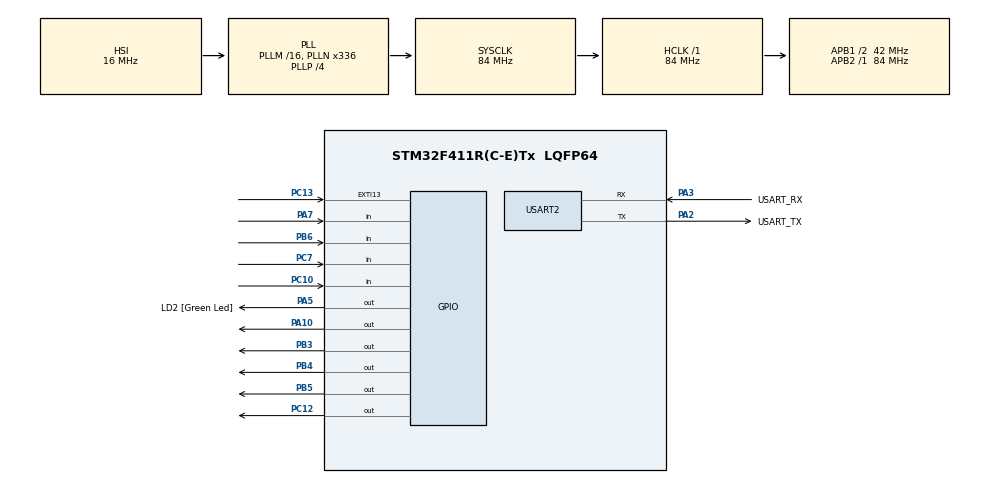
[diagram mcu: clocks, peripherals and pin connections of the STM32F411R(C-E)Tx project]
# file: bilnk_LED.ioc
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Mcu.Family=STM32F4
Mcu.Name=STM32F411R(C-E)Tx
Mcu.Package=LQFP64
NVIC.PriorityGroup=NVIC_PRIORITYGROUP_0
PA10.GPIO_ModeDefaultOutputPP=GPIO_MODE_OUTPUT_OD
PA10.GPIO_PuPd=GPIO_NOPULL
PA10.Signal=GPIO_Output
PA13.GPIO_Label=TMS
PA13.Mode=Serial_Wire
PA13.Signal=SYS_JTMS-SWDIO
PA14.GPIO_Label=TCK
PA14.Mode=Serial_Wire
PA14.Signal=SYS_JTCK-SWCLK
PA2.GPIO_Label=USART_TX
PA2.Mode=Asynchronous
PA2.Signal=USART2_TX
PA3.GPIO_Label=USART_RX
PA3.Mode=Asynchronous
PA3.Signal=USART2_RX
PA5.GPIO_Label=LD2 [Green Led]
PA5.GPIO_ModeDefaultOutputPP=GPIO_MODE_OUTPUT_OD
PA5.GPIO_PuPd=GPIO_NOPULL
PA5.Signal=GPIO_Output
PA7.GPIO_PuPd=GPIO_PULLUP
PA7.Signal=GPIO_Input
PB3.GPIO_ModeDefaultOutputPP=GPIO_MODE_OUTPUT_OD
PB3.GPIO_PuPd=GPIO_NOPULL
PB3.Signal=GPIO_Output
PB4.GPIO_ModeDefaultOutputPP=GPIO_MODE_OUTPUT_OD
PB4.GPIO_PuPd=GPIO_NOPULL
PB4.Signal=GPIO_Output
PB5.GPIO_ModeDefaultOutputPP=GPIO_MODE_OUTPUT_OD
PB5.GPIO_PuPd=GPIO_NOPULL
PB5.Signal=GPIO_Output
PB6.GPIO_PuPd=GPIO_PULLUP
PB6.Signal=GPIO_Input
PC10.GPIO_PuPd=GPIO_PULLUP
PC10.Signal=GPIO_Input
PC12.GPIO_ModeDefaultOutputPP=GPIO_MODE_OUTPUT_OD
PC12.GPIO_PuPd=GPIO_NOPULL
PC12.Signal=GPIO_Output
PC13-ANTI_TAMP.Signal=GPXTI13
PC14-OSC32_IN.Mode=LSE-External-Oscillator
PC14-OSC32_IN.Signal=RCC_OSC32_IN
PC15-OSC32_OUT.Mode=LSE-External-Oscillator
PC15-OSC32_OUT.Signal=RCC_OSC32_OUT
PC7.GPIO_PuPd=GPIO_PULLUP
PC7.Signal=GPIO_Input
PH0\ -\ OSC_IN.Mode=HSE-External-Clock-Source
PH0\ -\ OSC_IN.Signal=RCC_OSC_IN
PH1\ -\ OSC_OUT.Mode=HSE-External-Clock-Source
PH1\ -\ OSC_OUT.Signal=RCC_OSC_OUT
ProjectManager.HeapSize=0x200
ProjectManager.StackSize=0x400
ProjectManager.TargetToolchain=STM32CubeIDE
RCC.48MHZClocksFreq_Value=84000000
RCC.AHBFreq_Value=84000000
RCC.APB1CLKDivider=RCC_HCLK_DIV2
RCC.APB1Freq_Value=42000000
RCC.APB1TimFreq_Value=84000000
RCC.APB2Freq_Value=84000000
RCC.APB2TimFreq_Value=84000000
RCC.CortexFreq_Value=84000000
RCC.FLatency-AdvancedSettings=FLASH_LATENCY_2
RCC.HCLKFreq_Value=84000000
RCC.HSE_VALUE=8000000
RCC.HSI_VALUE=16000000
RCC.PLLN=336
RCC.PLLP=RCC_PLLP_DIV4
RCC.SYSCLKFreq_VALUE=84000000
RCC.SYSCLKSource=RCC_SYSCLKSOURCE_PLLCLK
RCC.VCOOutputFreq_Value=336000000
USART2.VirtualMode=VM_ASYNC
board=NUCLEO-F411RE

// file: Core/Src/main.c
/* USER CODE BEGIN Header */
/**
  ******************************************************************************
  * @file           : main.c
  * @brief          : Main program body
  ******************************************************************************
  * @attention
  *
  * Copyright (c) 2023 STMicroelectronics.
  * All rights reserved.
  *
  * This software is licensed under terms that can be found in the LICENSE file
  * in the root directory of this software component.
  * If no LICENSE file comes with this software, it is provided AS-IS.
  *
  ******************************************************************************
  */
/* USER CODE END Header */
#include "main.h"

/* USER CODE BEGIN Includes */
#include "string.h"
/* USER CODE END Includes */

UART_HandleTypeDef huart2;

/* USER CODE BEGIN PV */
//create structure type

struct _GPIOstate{
	GPIO_PinState Current;
	GPIO_PinState Last;
};
struct _GPIOstate Button1;

struct PortPin{
	GPIO_TypeDef* PORT;
	uint16_t PIN;
};

struct PortPin R[4] = {

	{GPIOA,GPIO_PIN_10},
	{GPIOB,GPIO_PIN_3},
	{GPIOB,GPIO_PIN_5},
	{GPIOB,GPIO_PIN_4}

};

struct PortPin L[4] = {

	{GPIOA,GPIO_PIN_9},
	{GPIOC,GPIO_PIN_7},
	{GPIOB,GPIO_PIN_6},
	{GPIOA,GPIO_PIN_7}

};
int num = 0;

uint16_t ButtonMatrix = 0;
/* USER CODE END PV */

void SystemClock_Config(void);
static void MX_GPIO_Init(void);
static void MX_USART2_UART_Init(void);
/* USER CODE BEGIN PFP */
void ReadMatrixButton_1Row();
/* USER CODE END PFP */

int main(void)
{
  /* USER CODE BEGIN 1 */
	char Txbuffer[20];
  /* USER CODE END 1 */

  /* MCU Configuration--------------------------------------------------------*/

  /* Reset of all peripherals, Initializes the Flash interface and the Systick. */
  HAL_Init();

  /* Configure the system clock */
  SystemClock_Config();

  /* Initialize all configured peripherals */
  MX_GPIO_Init();
  MX_USART2_UART_Init();

  /* Infinite loop */
  while (1)
  {

    /* USER CODE BEGIN 3 */
//	  uint8_t Test[] = "Hello World !!!\r\n"; //Data to send

	  // Read pin PC13 and save it to Button1
//	  GPIO_PinState Button1;
	  num = num + 1;
	  sprintf(Txbuffer, "%d\r\n", /*num*/);
	  HAL_UART_Transmit(&huart2,(uint8_t *) Txbuffer,strlen(Txbuffer),HAL_MAX_DELAY);// Sending in normal mode
//	  Button1.Current = HAL_GPIO_ReadPin(GPIOC, GPIO_PIN_10);
//
//	  static uint32_t timestamp = 0;
//	  if(HAL_GetTick() >= timestamp){
//		  if(Button1.Last == 0 && Button1.Current == 1){
//			  timestamp = HAL_GetTick() + 50;
//			  Button1.state = HAL_GPIO_ReadPin(GPIOC, GPIO_PIN_12);
//			  HAL_GPIO_TogglePin(GPIOC, GPIO_PIN_12);
//	  static uint32_t timestamp = 0;
//	  if(HAL_GetTick() >= timestamp){
//		  timestamp = HAL_GetTick() + 100;
//		  ReadMatrixButton_1Row();
//
//	  }
//	  HAL_UART_Transmit(huart, pData, Size, Timeout)
//	  xy = xy + 1;
//		  }
//	  }
//	  Button1.Last = Button1.Current;
  }
  /* USER CODE END 3 */
}

void SystemClock_Config(void)
{
  RCC_OscInitTypeDef RCC_OscInitStruct = {0};
  RCC_ClkInitTypeDef RCC_ClkInitStruct = {0};

  /** Configure the main internal regulator output voltage
  */
  __HAL_RCC_PWR_CLK_ENABLE();
  __HAL_PWR_VOLTAGESCALING_CONFIG(PWR_REGULATOR_VOLTAGE_SCALE1);

  /** Initializes the RCC Oscillators according to the specified parameters
  * in the RCC_OscInitTypeDef structure.
  */
  RCC_OscInitStruct.OscillatorType = RCC_OSCILLATORTYPE_HSI;
  RCC_OscInitStruct.HSIState = RCC_HSI_ON;
  RCC_OscInitStruct.HSICalibrationValue = RCC_HSICALIBRATION_DEFAULT;
  RCC_OscInitStruct.PLL.PLLState = RCC_PLL_ON;
  RCC_OscInitStruct.PLL.PLLSource = RCC_PLLSOURCE_HSI;
  RCC_OscInitStruct.PLL.PLLM = 16;
  RCC_OscInitStruct.PLL.PLLN = 336;
  RCC_OscInitStruct.PLL.PLLP = RCC_PLLP_DIV4;
  RCC_OscInitStruct.PLL.PLLQ = 4;
  if (HAL_RCC_OscConfig(&RCC_OscInitStruct) != HAL_OK)
  {
    Error_Handler();
  }

  /** Initializes the CPU, AHB and APB buses clocks
  */
  RCC_ClkInitStruct.ClockType = RCC_CLOCKTYPE_HCLK|RCC_CLOCKTYPE_SYSCLK
                              |RCC_CLOCKTYPE_PCLK1|RCC_CLOCKTYPE_PCLK2;
  RCC_ClkInitStruct.SYSCLKSource = RCC_SYSCLKSOURCE_PLLCLK;
  RCC_ClkInitStruct.AHBCLKDivider = RCC_SYSCLK_DIV1;
  RCC_ClkInitStruct.APB1CLKDivider = RCC_HCLK_DIV2;
  RCC_ClkInitStruct.APB2CLKDivider = RCC_HCLK_DIV1;

  if (HAL_RCC_ClockConfig(&RCC_ClkInitStruct, FLASH_LATENCY_2) != HAL_OK)
  {
    Error_Handler();
  }
}

static void MX_USART2_UART_Init(void)
{

  huart2.Instance = USART2;
  huart2.Init.BaudRate = 115200;
  huart2.Init.WordLength = UART_WORDLENGTH_8B;
  huart2.Init.StopBits = UART_STOPBITS_1;
  huart2.Init.Parity = UART_PARITY_NONE;
  huart2.Init.Mode = UART_MODE_TX_RX;
  huart2.Init.HwFlowCtl = UART_HWCONTROL_NONE;
  huart2.Init.OverSampling = UART_OVERSAMPLING_16;
  if (HAL_UART_Init(&huart2) != HAL_OK)
  {
    Error_Handler();
  }

}

static void MX_GPIO_Init(void)
{
  GPIO_InitTypeDef GPIO_InitStruct = {0};

  /* GPIO Ports Clock Enable */
  __HAL_RCC_GPIOC_CLK_ENABLE();
  __HAL_RCC_GPIOH_CLK_ENABLE();
  __HAL_RCC_GPIOA_CLK_ENABLE();
  __HAL_RCC_GPIOB_CLK_ENABLE();

  /*Configure GPIO pin Output Level */
  HAL_GPIO_WritePin(GPIOA, LD2_Pin|GPIO_PIN_10, GPIO_PIN_RESET);

  /*Configure GPIO pin Output Level */
  HAL_GPIO_WritePin(GPIOC, GPIO_PIN_12, GPIO_PIN_RESET);

  /*Configure GPIO pin Output Level */
  HAL_GPIO_WritePin(GPIOB, GPIO_PIN_3|GPIO_PIN_4|GPIO_PIN_5, GPIO_PIN_RESET);

  /*Configure GPIO pin : PC13 */
  GPIO_InitStruct.Pin = GPIO_PIN_13;
  GPIO_InitStruct.Mode = GPIO_MODE_IT_RISING;
  GPIO_InitStruct.Pull = GPIO_NOPULL;
  HAL_GPIO_Init(GPIOC, &GPIO_InitStruct);

  /*Configure GPIO pins : LD2_Pin PA10 */
  GPIO_InitStruct.Pin = LD2_Pin|GPIO_PIN_10;
  GPIO_InitStruct.Mode = GPIO_MODE_OUTPUT_OD;
  GPIO_InitStruct.Pull = GPIO_NOPULL;
  GPIO_InitStruct.Speed = GPIO_SPEED_FREQ_LOW;
  HAL_GPIO_Init(GPIOA, &GPIO_InitStruct);

  /*Configure GPIO pin : PA7 */
  GPIO_InitStruct.Pin = GPIO_PIN_7;
  GPIO_InitStruct.Mode = GPIO_MODE_INPUT;
  GPIO_InitStruct.Pull = GPIO_PULLUP;
  HAL_GPIO_Init(GPIOA, &GPIO_InitStruct);

  /*Configure GPIO pins : PC7 PC10 */
  GPIO_InitStruct.Pin = GPIO_PIN_7|GPIO_PIN_10;
  GPIO_InitStruct.Mode = GPIO_MODE_INPUT;
  GPIO_InitStruct.Pull = GPIO_PULLUP;
  HAL_GPIO_Init(GPIOC, &GPIO_InitStruct);

  /*Configure GPIO pin : PC12 */
  GPIO_InitStruct.Pin = GPIO_PIN_12;
  GPIO_InitStruct.Mode = GPIO_MODE_OUTPUT_OD;
  GPIO_InitStruct.Pull = GPIO_NOPULL;
  GPIO_InitStruct.Speed = GPIO_SPEED_FREQ_LOW;
  HAL_GPIO_Init(GPIOC, &GPIO_InitStruct);

  /*Configure GPIO pins : PB3 PB4 PB5 */
  GPIO_InitStruct.Pin = GPIO_PIN_3|GPIO_PIN_4|GPIO_PIN_5;
  GPIO_InitStruct.Mode = GPIO_MODE_OUTPUT_OD;
  GPIO_InitStruct.Pull = GPIO_NOPULL;
  GPIO_InitStruct.Speed = GPIO_SPEED_FREQ_LOW;
  HAL_GPIO_Init(GPIOB, &GPIO_InitStruct);

  /*Configure GPIO pin : PB6 */
  GPIO_InitStruct.Pin = GPIO_PIN_6;
  GPIO_InitStruct.Mode = GPIO_MODE_INPUT;
  GPIO_InitStruct.Pull = GPIO_PULLUP;
  HAL_GPIO_Init(GPIOB, &GPIO_InitStruct);

}

/* USER CODE BEGIN 4 */
//void ReadMatrixButton_1Row() {
//    static uint8_t X = 0;
//    register int i;
//    for (i = 0; i < 4; i++) {
//        if (HAL_GPIO_ReadPin(L[i].PORT, L[i].PIN)) {
//            ButtonMatrix &= ~(1 << (X * 4 + i));
//        } else {
//            ButtonMatrix |= 1 << (X * 4 + i);
//        }
//    }
//    HAL_GPIO_WritePin(R[X].PORT, R[X].PIN, 1);
//    HAL_GPIO_WritePin(R[(X + 1) % 4].PORT, R[(X + 1) % 4].PIN, 0);
//    X++;
//    X %= 4;
//}
/* USER CODE END 4 */

void Error_Handler(void)
{
  __disable_irq();
  while (1)
  {
  }
}
